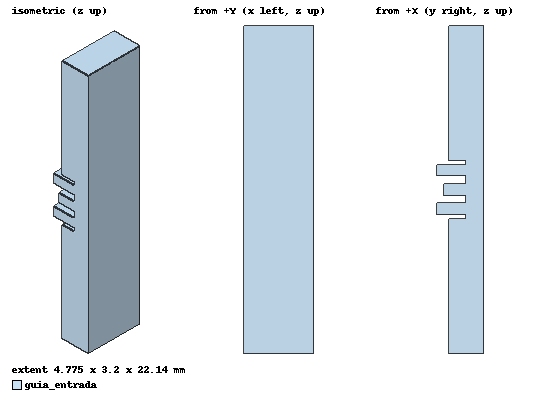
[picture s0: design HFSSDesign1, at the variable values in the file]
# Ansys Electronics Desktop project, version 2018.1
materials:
  vacuum: permittivity=1
  air: permittivity=1.0006 permeability=1.0000004

design HFSSDesign1 (HFSS, DrivenModal, model units mm)
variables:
  a_guia = 4.7752mm
  b_guia = 2.3876mm
  lamda_g = 9.1mm
  largo_guia_entrada = lamda_g
  largo_guia_salida = lamda_g
  b = b_externo
  l_prima = 0.5355mm
  l = l_externo
  b_prima = 2.5mm
  l_prima_2 = l_prima_interno
  l_2 = l_interno
  l_prima_3 = l_prima_interno
  l_3 = l_externo
  b_2 = b_interno
  b_3 = b_externo
  b_externo = 6.4mm
  b_interno = 5.4mm
  l_prima_interno = 0.5mm
  l_interno = 0.8mm
  l_externo = 0.8mm
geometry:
  guia_entrada [air] = box(corner=(0mm, 0mm, 0mm), size=(a_guia, -b_guia, largo_guia_entrada))
  Slot_1 = box(corner=(0mm, 0mm, largo_guia_entrada), size=(a_guia, -b/2, l_prima + l))
  guia_salida = box(corner=(0mm, 0mm, largo_guia_entrada + l_prima + l +  l_prima_2 + l_2 +  l_prima_3 + l_3), size=(a_guia, -b_guia, largo_guia_salida))
  sacado_filter = box(corner=(0mm, -b/2, largo_guia_entrada), size=(a_guia, b/2  - b_prima/2, l_prima/2))
  sacado_filter.duplicate_along_line(step=(0mm, 0mm, l_prima/2 + l), total=2, attached)
  Slot_1.subtract(sacado_filter)
  Slot_2 = box(corner=(0mm, 0mm, largo_guia_entrada + l_prima + l), size=(a_guia, -b_2/2, l_prima_2 + l_2))
  sacado_filter1 = box(corner=(0mm, -b_2/2, largo_guia_entrada + l + l_prima), size=(a_guia, b_2/2  - b_prima/2, l_prima_2/2))
  sacado_filter1.duplicate_along_line(step=(0mm, 0mm, l_prima_2/2 + l_2), total=2, attached)
  Slot_2.subtract(sacado_filter1)
  Slot_3 = box(corner=(0mm, 0mm, largo_guia_entrada + l_prima + l + l_prima_2 + l_2), size=(a_guia, -b_3/2, l_prima_3 + l_3))
  sacado_filter2 = box(corner=(0mm, -b_3/2, largo_guia_entrada +  l_prima + l +  l_prima_2 + l_2), size=(a_guia, b_3/2  - b_prima/2, l_prima_3/2))
  sacado_filter2.duplicate_along_line(step=(0mm, 0mm, l_prima_3/2 + l_3), total=2, attached)
  Slot_3.subtract(sacado_filter2)
  guia_entrada.unite(guia_salida, Slot_1, Slot_2, Slot_3)
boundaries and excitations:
  P1: Wave Port Faces=guia_entrada.face(-z) NumModes=1 Modes{Mode1{CharImp=Zpi}}
  P2: Wave Port Faces=guia_entrada.face(1 of 6) NumModes=1 Modes{Mode1{CharImp=Zpi}}
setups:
  Setup1: HfssDriven Frequency=60GHz MaxDeltaS=0.02 MaximumPasses=6 MinimumPasses=1 MinimumConvergedPasses=1 PercentRefinement=30 BasisOrder=1 PortAccuracy=2
    sweep Sweep: 25GHz to 70GHz step 0.1GHz; Type=Fast SaveFields
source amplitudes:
  P1:1: 1W 0deg
  P2:1: 0W 0deg
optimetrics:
  ParametricSetup1: Parametric Sim._Setups=[Setup1]
    sweep b_interno: LIN 2mm 8.5mm 0.2mm
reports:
  S Parameter Plot 1: dB(S(P1,P1)), dB(S(P1,P2)) vs Freq on Setup1 : Sweep [l_prima=0.5355mm b_prima=2.5mm b_externo=6.4mm b_interno=5.4mm l_prima_interno=0.5mm l_interno=0.8mm l_externo=0.8mm]; markers MX1 at x=3.9335385e+10, MX2 at x=5.2397837e+10, MY1 at y=-20.0716
